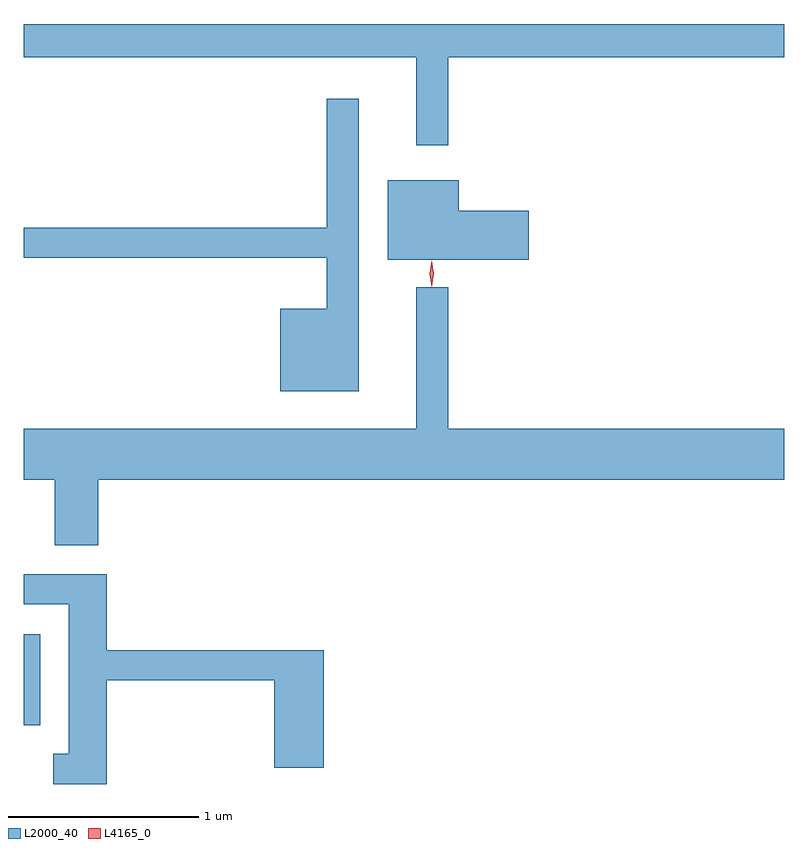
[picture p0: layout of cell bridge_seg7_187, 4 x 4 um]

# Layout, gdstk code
import gdstk
lib = gdstk.Library(unit=1e-6, precision=1e-09)
def R(c, l, rs):  # rectangles x0, y0, x1, y1
    for r in rs: c.add(gdstk.rectangle(r[:2], r[2:], *l))
def P(c, l, *ps):  # polygons
    for p in ps: c.add(gdstk.Polygon(p, *l))
L2000_40 = (2000, 40)
L4165_0 = (4165, 0)

bridge_seg7_187 = lib.new_cell('bridge_seg7_187')
R(bridge_seg7_187, L2000_40, [(1528.557,1686.386,1528.644,1686.864)])
P(bridge_seg7_187, L2000_40, [(1530.789,1689.896),(1532.557,1689.896),(1532.557,1690.071),(1528.557,1690.071),(1528.557,1689.896),(1530.621,1689.896),(1530.621,1689.433),(1530.789,1689.433)],
  [(1530.319,1689.678),(1530.151,1689.678),(1530.151,1688.999),(1528.557,1688.999),(1528.557,1688.841),(1530.151,1688.841),(1530.151,1688.574),(1529.906,1688.574),(1529.906,1688.141),(1530.319,1688.141)],
  [(1531.214,1689.089),(1530.844,1689.089),(1530.844,1689.249),(1530.471,1689.249),(1530.471,1688.831),(1531.214,1688.831)],
  [(1528.949,1687.676),(1532.557,1687.676),(1532.557,1687.944),(1530.789,1687.944),(1530.789,1688.688),(1530.621,1688.688),(1530.621,1687.944),(1528.557,1687.944),(1528.557,1687.676),(1528.721,1687.676),(1528.721,1687.331),(1528.949,1687.331)],
  [(1528.994,1686.621),(1529.876,1686.621),(1529.876,1686.161),(1530.134,1686.161),(1530.134,1686.779),(1528.994,1686.779),(1528.994,1687.179),(1528.557,1687.179),(1528.557,1687.021),(1528.796,1687.021),(1528.796,1686.234),(1528.713,1686.234),(1528.713,1686.076),(1528.994,1686.076)])
P(bridge_seg7_187, L4165_0, [(1530.704,1688.693),(1530.703,1688.694),(1530.694,1688.756),(1530.703,1688.819),(1530.703,1688.82),(1530.704,1688.819),(1530.714,1688.756),(1530.704,1688.694)],
  [(1530.703,1688.69),(1530.693,1688.758),(1530.702,1688.826),(1530.702,1688.826),(1530.703,1688.826),(1530.713,1688.758),(1530.704,1688.69),(1530.704,1688.69)])

lib.write_gds('bridge_seg7_187.gds')
